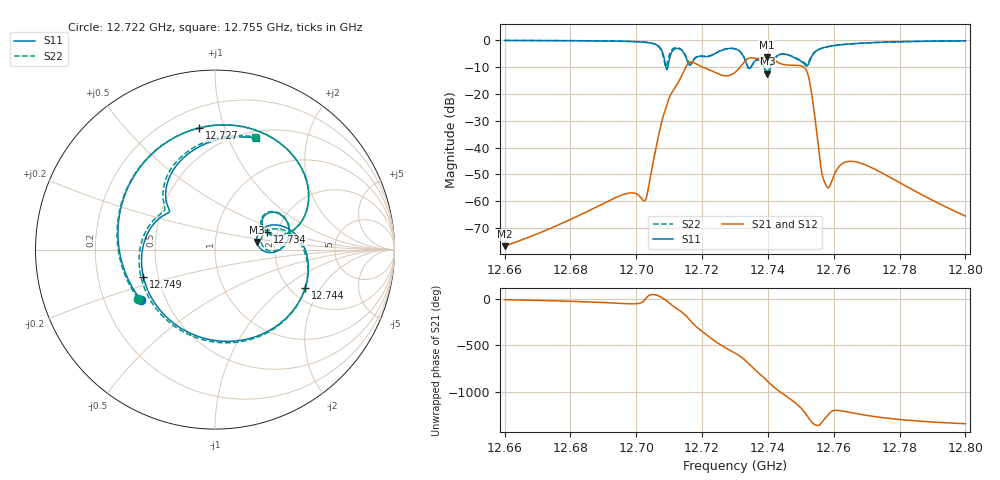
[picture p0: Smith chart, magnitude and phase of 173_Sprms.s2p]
! TOUCHSTONE file generated by CST MICROWAVE STUDIO
! Date and time: Wed Jul 31 19:37:14 2024
! Project name: WaveGuide_BPF-Ver4.1_U-shape_Ku_T3_C4_CWA_2.cst
! Parameters = {cavity_h=16; cavity_l0=10; cavity_l1=15.1616; cavity_l2=16.8279; cavity_l3=17.0892; cavity_l4=17.2891; cavity_l5=17.1154; cavity_l6=17.5904; cavity_r=2.5; cavity_screw_l=0.5; cavity_screw_r=1.5; cavity_w=8; iris_h00=0; iris_h01=8.8013; iris_h112=0; iris_h12=5.599; iris_h211=3.6543; i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
! Header version: 2018
! Port assignment regex: !\s*Touchstone port\s*([0-9]+)\s*=\s*(CST MWS port|CST DS port)\s*([0-9]+|Zmin|Zmax)\s*\(\"(.*)\"\)(\s*mode\s*([0-9]+))?.*
! Touchstone port assignment:
! Touchstone port 1 = CST MWS port 1 ("")
! Touchstone port 2 = CST MWS port 2 ("")
# GHz S RI R 50
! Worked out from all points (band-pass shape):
!   5001 points, 12.66 GHz to 12.8 GHz, reference 50 ohm
!   highest |S21| = -6.28 dB at 12.74 GHz (marker M1); lowest = -76.7 dB at 12.66 GHz (marker M2)
!   |S21| within 3 dB of the highest: 12.71542 GHz to 12.71883 GHz (3.416 MHz wide, 0.0269 % of centre); 12.73206 GHz to 12.74603 GHz (13.97 MHz wide, 0.11 % of centre)
!   lowest |S11| = -12.5 dB at 12.74 GHz (marker M3), VSWR 1.62, Z = 80.1 + j7.28 ohm
!   |S11| at or under -10 dB: 12.709 GHz to 12.70959 GHz (593.4 kHz wide, 0.00467 % of centre); 12.73391 GHz to 12.73487 GHz (951.5 kHz wide, 0.00747 % of centre); 12.73876 GHz to 12.74087 GHz (2.109 MHz wide, 0.0166 % of centre)
!   |S22| runs from -11.7 to -0.1 dB; largest |S21 - S12| = 1e-09
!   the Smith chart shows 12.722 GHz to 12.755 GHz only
!   S11 on the Smith chart (normalised r, x): 12.722 GHz: 0.36, -0.27; 12.727 GHz: 0.32, +0.82; 12.734 GHz: 1.77, +0.38; 12.744 GHz: 2.39, -1.46; 12.749 GHz: 0.41, -0.16; 12.755 GHz: 0.57, +1.27
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12.66  0.1519 0.9744  0.000142 -3.17e-05  0.000142 -3.17e-05  0.1567 0.9736
12.68335  0.4729 0.8519  0.000475 -0.00032  0.000475 -0.00032  0.4769 0.8497
12.70256  0.861 0.3063  0.000984 -0.000259  0.000984 -0.000259  0.8618 0.3041
12.70668  0.776 -0.0941  0.0135 0.00789  0.0135 0.00789  0.7615 -0.0981
12.71032  0.455 0.2168  0.0514 -0.0772  0.0514 -0.0772  0.5499 0.2155
12.71558  0.2933 -0.2665  -0.3257 0.1418  -0.3257 0.1418  0.3139 -0.292
12.7221  -0.4131 -0.2807  0.1779 -0.2188  0.1779 -0.2188  -0.4281 -0.2731
12.72717  -0.089 0.6776  -0.2135 -0.0362  -0.2135 -0.0362  -0.0899 0.6777
12.73  0.3997 0.5615  -0.1755 0.1787  -0.1755 0.1787  0.4 0.56
12.73403  0.291 0.0984  0.4194 0.1818  0.4194 0.1818  0.2856 0.0958
12.73708  0.4132 0.1157  0.1036 -0.4398  0.1036 -0.4398  0.4138 0.1247
12.73969  0.2385 0.0268  -0.4586 -0.1585  -0.4586 -0.1585  0.2616 0.0277
12.73986  0.2337 0.0429  -0.472 -0.1106  -0.472 -0.1106  0.2579 0.0415
12.74394  0.5024 -0.2152  0.1194 0.3439  0.1194 0.3439  0.4903 -0.2474
12.74938  -0.3985 -0.1539  0.0955 -0.323  0.0955 -0.323  -0.4119 -0.1542
12.75335  -0.2298 0.4473  -0.0335 0.0883  -0.0335 0.0883  -0.2363 0.4626
12.75531  0.23 0.6211  0.00241 0.0106  0.00241 0.0106  0.2231 0.6279
12.75789  0.6831 0.3091  -0.00187 0.000237  -0.00187 0.000237  0.6778 0.3192
12.76122  0.769 -0.2512  -0.00219 -0.00348  -0.00219 -0.00348  0.7698 -0.2437
12.76777  0.2251 -0.8436  -0.00497 -0.00158  -0.00497 -0.00158  0.2241 -0.843
12.77668  -0.4924 -0.7795  -0.00256 0.00133  -0.00256 0.00133  -0.497 -0.7764
12.8  -0.97 -0.024  -4.69e-05 0.000528  -4.69e-05 0.000528  -0.9702 -0.0172
